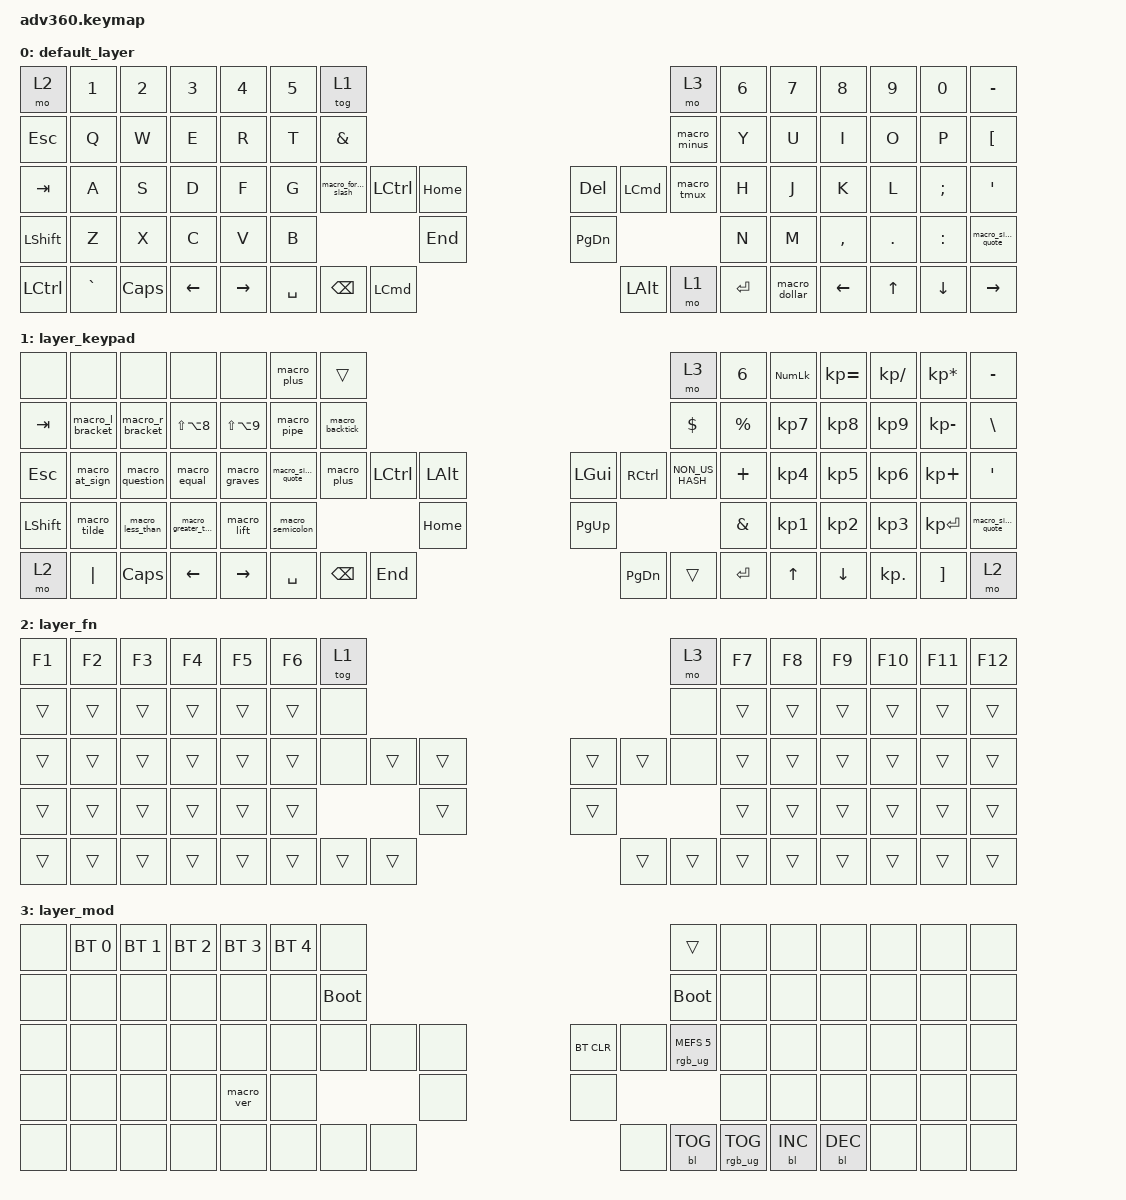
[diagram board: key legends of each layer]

/*
 * Copyright (c) 2020 The ZMK Contributors
 *
 * SPDX-License-Identifier: MIT
 */


/* THIS FILE WAS GENERATED!
 *
 * This file was generated automatically. You may or may not want to
 * edit it directly.
 */

#include <behaviors.dtsi>
#include <dt-bindings/zmk/keys.h>
#include <dt-bindings/zmk/bt.h>
#include <dt-bindings/zmk/rgb.h>
#include <dt-bindings/zmk/backlight.h>

/ {
  behaviors {
    #include "macros.dtsi"
    #include "version.dtsi"

    hm: homerow_mods {
        compatible = "zmk,behavior-hold-tap";
        label = "HOMEROW_MODS";
        #binding-cells = <2>;
        tapping-term-ms = <200>;
        quick_tap_ms = <175>;
        flavor = "tap-preferred";
        bindings = <&kp>, <&kp>;
    };
  };

    keymap {
        compatible = "zmk,keymap";


        default_layer {
            bindings = <
     &mo 2     &kp N1    &kp N2    &kp N3     &kp N4  &kp N5                          &tog 1                                                                                      &mo 3  &kp N6         &kp N7          &kp N8        &kp N9          &kp N0            &kp MINUS
   &kp ESC      &kp Q     &kp W     &kp E      &kp R   &kp T                   &kp AMPERSAND                                                                               &macro_minus   &kp Y          &kp U           &kp I         &kp O           &kp P     &kp LEFT_BRACKET
   &kp TAB      &kp A     &kp S     &kp D      &kp F   &kp G            &macro_forward_slash  &kp LCTRL          &kp HOME                    &kp DELETE  &kp LEFT_COMMAND   &macro_tmux   &kp H          &kp J           &kp K         &kp L   &kp SEMICOLON     &kp SINGLE_QUOTE
 &kp LSHFT      &kp Z     &kp X     &kp C      &kp V   &kp B                                                      &kp END                     &kp PG_DN                                   &kp N          &kp M       &kp COMMA       &kp DOT       &kp COLON  &macro_single_quote
 &kp LCTRL  &kp GRAVE  &kp CAPS  &kp LEFT  &kp RIGHT                               &kp SPACE   &kp BSPC  &kp LEFT_COMMAND                  &kp LEFT_ALT             &mo 1     &kp ENTER          &macro_dollar  &kp LEFT_ARROW  &kp UP_ARROW  &kp DOWN_ARROW      &kp RIGHT_ARROW
            >;
        };

        layer_keypad {
            bindings = <
     &none             &none             &none                &none          &none          &macro_plus                     &trans                                                                           &mo 3         &kp N6  &kp KP_NUM  &kp KP_EQUAL  &kp KP_DIVIDE  &kp KP_MULTIPLY            &kp MINUS
   &kp TAB  &macro_l_bracket  &macro_r_bracket        &kp LS(LA(8))  &kp LS(LA(9))          &macro_pipe            &macro_backtick                                                                      &kp DOLLAR    &kp PERCENT   &kp KP_N7     &kp KP_N8      &kp KP_N9     &kp KP_MINUS             &kp BSLH
   &kp ESC    &macro_at_sign   &macro_question         &macro_equal  &macro_graves  &macro_single_quote                &macro_plus      &kp LCTRL  &kp LALT                   &kp LGUI  &kp RCTRL  &kp NON_US_HASH       &kp PLUS   &kp KP_N4     &kp KP_N5      &kp KP_N6      &kp KP_PLUS              &kp SQT
 &kp LSHFT      &macro_tilde  &macro_less_than  &macro_greater_than    &macro_lift     &macro_semicolon                                            &kp HOME                  &kp PG_UP                              &kp AMPERSAND   &kp KP_N1     &kp KP_N2      &kp KP_N3     &kp KP_ENTER  &macro_single_quote
     &mo 2          &kp PIPE          &kp CAPS             &kp LEFT      &kp RIGHT                                       &kp SPACE  &kp BACKSPACE   &kp END                  &kp PG_DN     &trans        &kp ENTER                     &kp UP      &kp DOWN     &kp KP_DOT         &kp RBKT                &mo 2
            >;
        };

        layer_fn {
            bindings = <
 &kp F1  &kp F2  &kp F3  &kp F4  &kp F5  &kp F6            &tog 1                                                   &mo 3  &kp F7  &kp F8  &kp F9  &kp F10  &kp F11  &kp F12
 &trans  &trans  &trans  &trans  &trans  &trans             &none                                                   &none  &trans  &trans  &trans   &trans   &trans   &trans
 &trans  &trans  &trans  &trans  &trans  &trans             &none  &trans  &trans                  &trans  &trans   &none  &trans  &trans  &trans   &trans   &trans   &trans
 &trans  &trans  &trans  &trans  &trans  &trans                            &trans                  &trans                  &trans  &trans  &trans   &trans   &trans   &trans
 &trans  &trans  &trans  &trans  &trans                    &trans  &trans  &trans                  &trans  &trans  &trans          &trans  &trans   &trans   &trans   &trans
            >;
        };

        layer_mod {
            bindings = <
  &none  &bt BT_SEL 0  &bt BT_SEL 1  &bt BT_SEL 2  &bt BT_SEL 3  &bt BT_SEL 4                  &none                                                                          &trans   &none       &none       &none   &none   &none   &none
  &none         &none         &none         &none         &none         &none            &bootloader                                                                     &bootloader   &none       &none       &none   &none   &none   &none
  &none         &none         &none         &none         &none         &none                  &none   &none   &none                  &bt BT_CLR       &none  &rgb_ug RGB_MEFS_CMD 5   &none       &none       &none   &none   &none   &none
  &none         &none         &none         &none    &macro_ver         &none                                  &none                       &none                                       &none       &none       &none   &none   &none   &none
  &none         &none         &none         &none         &none                                &none   &none   &none                       &none  &bl BL_TOG         &rgb_ug RGB_TOG          &bl BL_INC  &bl BL_DEC   &none   &none   &none
            >;
        };

    };
};
